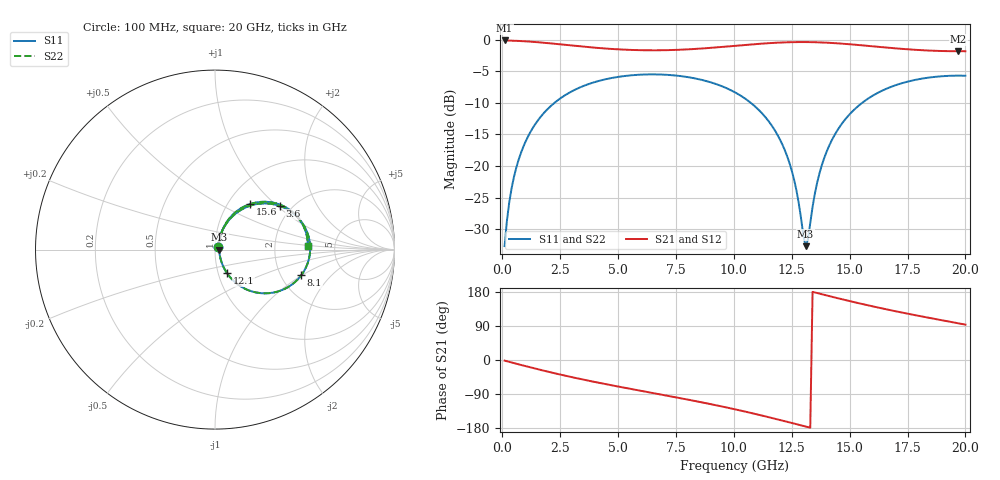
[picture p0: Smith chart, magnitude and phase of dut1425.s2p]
! Touchstone file exported from HFSS 2026.1.0
!  File:  C:/ffzhzh/LocalFiles/Ansys_Project_Files/temp_train_TSV_RDL_1425_1783355176_4416.aedt
!  Generated:  12:40:15 AM Jul  7, 2026
!  Design:  TSV_RDL
!  Project:  temp_train_TSV_RDL_1425_1783355176_4416
! Variables:
!  h_bsmrdl = 5.23um
!  h_ox = 20um
!  h_rdl = 5um
!  h_sub = 92.58um
!  h_tmrdl = 4.73um
!  h_tsv = 92.58um
!  h_via = 3um
!  l_bsmrdl = 822.64um
!  l_sub = 4433.29um
!  l_tmrdl = 362.01um
!  m_sub = 200um
!  pitch = 49.21um
!  r_tsv = 6.92um
!  s_tmrdl = 10um
!  w_bsmrdl = 22.4um
!  w_sub = 500um
!  w_tmrdl = 16.71um
!  x_tsv_center1 = 370.365um
!  x_tsv_center2 = 1215.405um
!  x_tsv_center3 = 1594.125um
!  x_tsv_center4 = 2439.165um
!  x_tsv_center5 = 2817.885um
!  x_tsv_center6 = 3662.925um
# GHz S MA R 50.000000
! Terminal data exported
! Port[1] = TM_RDL1_1_T1
! Port[2] = TM_RDL5_1_T1
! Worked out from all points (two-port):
!   200 points, 100 MHz to 20 GHz, reference 50 ohm
!   highest |S21| = -0.14 dB at 100 MHz (marker M1); lowest = -1.8 dB at 19.7 GHz (marker M2)
!   |S21| within 3 dB of the highest: start of sweep to end of sweep
!   lowest |S11| = -32.7 dB at 13.1 GHz (marker M3), VSWR 1.05, Z = 52.4 - j0.0978 ohm
!   |S11| at or under -10 dB: start of sweep to 2.258 GHz; 10.73 GHz to 15.55 GHz (4.818 GHz wide, 36.7 % of centre)
!   |S22| runs from -32.7 to -5.5 dB; largest |S21 - S12| = 1.7e-14
!   S11 on the Smith chart (normalised r, x): 100 MHz: 1.03, +0.03; 3.6 GHz: 1.74, +1.04; 8.1 GHz: 2.58, -0.98; 12.1 GHz: 1.10, -0.30; 15.6 GHz: 1.26, +0.72; 20 GHz: 3.13, +0.19
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0.1  0.02324 44.4  0.9837 -1.7  0.9837 -1.7  0.02324 44.4
! Gamma 0 0 0 0
! Port Impedance 50 0 50 0
0.3  0.05149 65.3  0.9814 -4.9  0.9814 -4.9  0.05149 65.3
0.5  0.08132 68.9  0.9787 -8.2  0.9787 -8.2  0.08132 68.9
1.1  0.1695 65.7  0.9659 -17.7  0.9659 -17.7  0.1695 65.7
2.1  0.2986 53.0  0.9322 -32.7  0.9322 -32.7  0.2986 53.0
3.5  0.4289 35.1  0.8787 -51.8  0.8787 -51.8  0.4289 35.1
3.6  0.436 33.9  0.8752 -53.0  0.8752 -53.0  0.436 33.9
6.8  0.5293 -2.2  0.8226 -90.5  0.8226 -90.5  0.5293 -2.2
8.1  0.5016 -16.5  0.8381 -105.5  0.8381 -105.5  0.5016 -16.5
10.1  0.3778 -40.1  0.8937 -130.8  0.8937 -130.8  0.3778 -40.1
11.3  0.251 -54.9  0.931 -147.8  0.931 -147.8  0.251 -54.9
12.1  0.1472 -63.0  0.9487 -159.9  0.9487 -159.9  0.1473 -63.0
12.6  0.07818 -62.4  0.9545 -167.7  0.9545 -167.7  0.07823 -62.3
13.1  0.0232 -2.3  0.9554 -175.5  0.9554 -175.5  0.02328 -2.3
13.2  0.02628 29.7  0.955 -177.1  0.955 -177.1  0.02634 29.6
13.4  0.04755 59.1  0.9536 179.8  0.9536 179.8  0.04756 59.0
13.7  0.08773 68.4  0.95 175.1  0.95 175.1  0.08772 68.3
14.2  0.1558 67.6  0.9405 167.4  0.9405 167.4  0.1557 67.6
15.6  0.3218 52.2  0.898 146.9  0.898 146.9  0.3217 52.2
16.7  0.4163 38.9  0.8607 132.3  0.8607 132.3  0.4162 38.9
19.7  0.5182 5.7  0.8082 96.8  0.8082 96.8  0.5182 5.7
20  0.5173 2.5  0.8088 93.4  0.8088 93.4  0.5172 2.5
